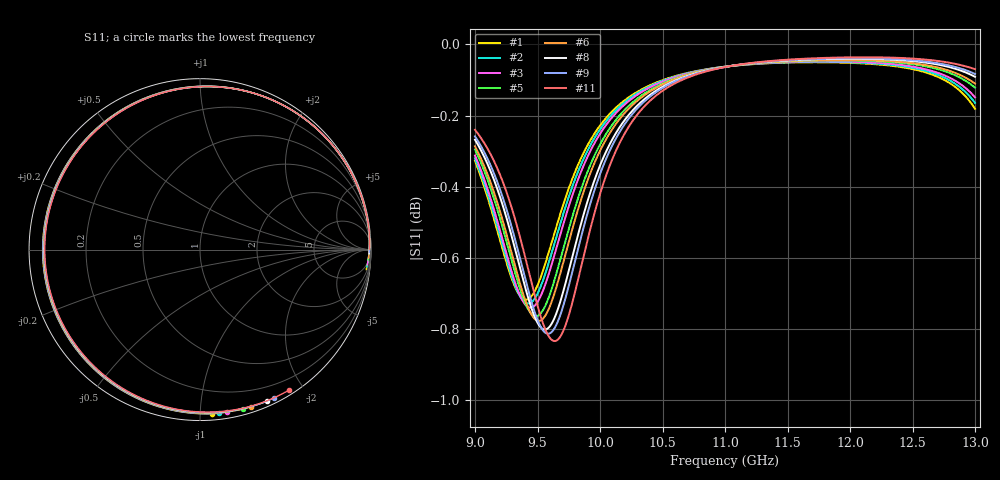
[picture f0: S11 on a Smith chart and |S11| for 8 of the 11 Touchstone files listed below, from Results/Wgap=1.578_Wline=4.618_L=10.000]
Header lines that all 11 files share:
! TOUCHSTONE file generated by CST DESIGN STUDIO
! Project name: C:\Work\MatlabApps\UnitCellOptimizationMatlab\CST\unitcell.cst
! Tree item: Tasks\Sweep1\SPara1\S-Parameters
! Header version: 2024
! Port assignment regex: !\s*Touchstone port\s*([0-9]+)\s*=\s*(CST MWS port|CST DES external port|CST DES block port)\s*(.+)\s* \(\"(.*)\"\)(\s*mode\s*([0-9]+))?.*
! Touchstone port assignment:
! Touchstone port 1 = CST DES external port 1 ("")
# GHz S MA R 50
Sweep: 9 GHz to 13 GHz
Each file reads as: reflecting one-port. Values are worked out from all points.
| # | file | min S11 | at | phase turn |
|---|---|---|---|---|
| 1 | DS_for_MWS-run-0001.s1p | -0.7 dB | 9.407 GHz | -281 deg |
| 2 | DS_for_MWS-run-0002.s1p | -0.7 dB | 9.424 GHz | -283 deg |
| 3 | DS_for_MWS-run-0003.s1p | -0.7 dB | 9.444 GHz | -285 deg |
| 4 | DS_for_MWS-run-0004.s1p | -0.8 dB | 9.465 GHz | -287 deg |
| 5 | DS_for_MWS-run-0005.s1p | -0.8 dB | 9.486 GHz | -289 deg |
| 6 | DS_for_MWS-run-0006.s1p | -0.8 dB | 9.51 GHz | -291 deg |
| 7 | DS_for_MWS-run-0007.s1p | -0.8 dB | 9.534 GHz | -293 deg |
| 8 | DS_for_MWS-run-0008.s1p | -0.8 dB | 9.559 GHz | -295 deg |
| 9 | DS_for_MWS-run-0009.s1p | -0.8 dB | 9.584 GHz | -298 deg |
| 10 | DS_for_MWS-run-0010.s1p | -0.8 dB | 9.611 GHz | -300 deg |
| 11 | DS_for_MWS-run-0011.s1p | -0.8 dB | 9.637 GHz | -302 deg |
